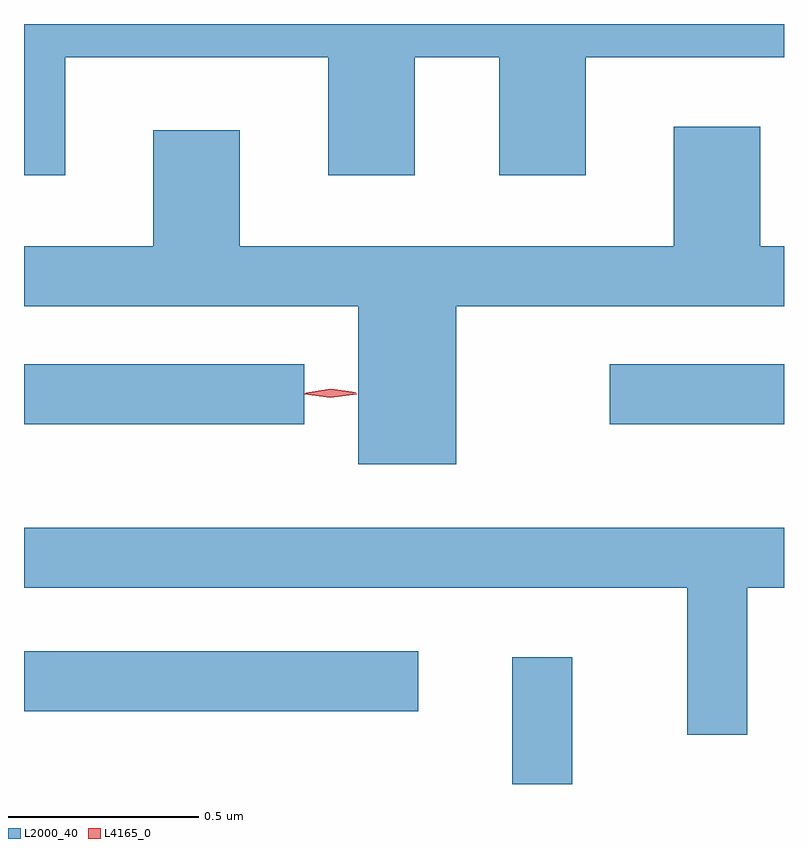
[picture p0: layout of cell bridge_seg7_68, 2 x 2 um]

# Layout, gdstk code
import gdstk
lib = gdstk.Library(unit=1e-6, precision=1e-09)
def R(c, l, rs):  # rectangles x0, y0, x1, y1
    for r in rs: c.add(gdstk.rectangle(r[:2], r[2:], *l))
def P(c, l, *ps):  # polygons
    for p in ps: c.add(gdstk.Polygon(p, *l))
L2000_40 = (2000, 40)
L4165_0 = (4165, 0)

bridge_seg7_68 = lib.new_cell('bridge_seg7_68')
R(bridge_seg7_68, L2000_40, [(1620.386,1790.104,1620.544,1790.438), (1619.101,1790.296,1620.138,1790.454), (1619.101,1791.051,1619.838,1791.209), (1620.643,1791.051,1621.101,1791.209)])
P(bridge_seg7_68, L2000_40, [(1619.209,1792.016),(1619.901,1792.016),(1619.901,1791.706),(1620.129,1791.706),(1620.129,1792.016),(1620.351,1792.016),(1620.351,1791.706),(1620.579,1791.706),(1620.579,1792.016),(1621.101,1792.016),(1621.101,1792.104),(1619.101,1792.104),(1619.101,1791.706),(1619.209,1791.706)],
  [(1620.239,1791.361),(1621.101,1791.361),(1621.101,1791.519),(1621.039,1791.519),(1621.039,1791.834),(1620.811,1791.834),(1620.811,1791.519),(1619.669,1791.519),(1619.669,1791.824),(1619.441,1791.824),(1619.441,1791.519),(1619.101,1791.519),(1619.101,1791.361),(1619.981,1791.361),(1619.981,1790.946),(1620.239,1790.946)],
  [(1621.004,1790.621),(1621.101,1790.621),(1621.101,1790.779),(1619.101,1790.779),(1619.101,1790.621),(1620.846,1790.621),(1620.846,1790.233),(1621.004,1790.233)])
P(bridge_seg7_68, L4165_0, [(1619.908,1791.12),(1619.839,1791.13),(1619.839,1791.13),(1619.839,1791.131),(1619.908,1791.14),(1619.976,1791.131),(1619.977,1791.131),(1619.976,1791.13)],
  [(1619.908,1791.124),(1619.843,1791.132),(1619.842,1791.133),(1619.843,1791.133),(1619.908,1791.144),(1619.974,1791.135),(1619.974,1791.135),(1619.974,1791.134)])

lib.write_gds('bridge_seg7_68.gds')
